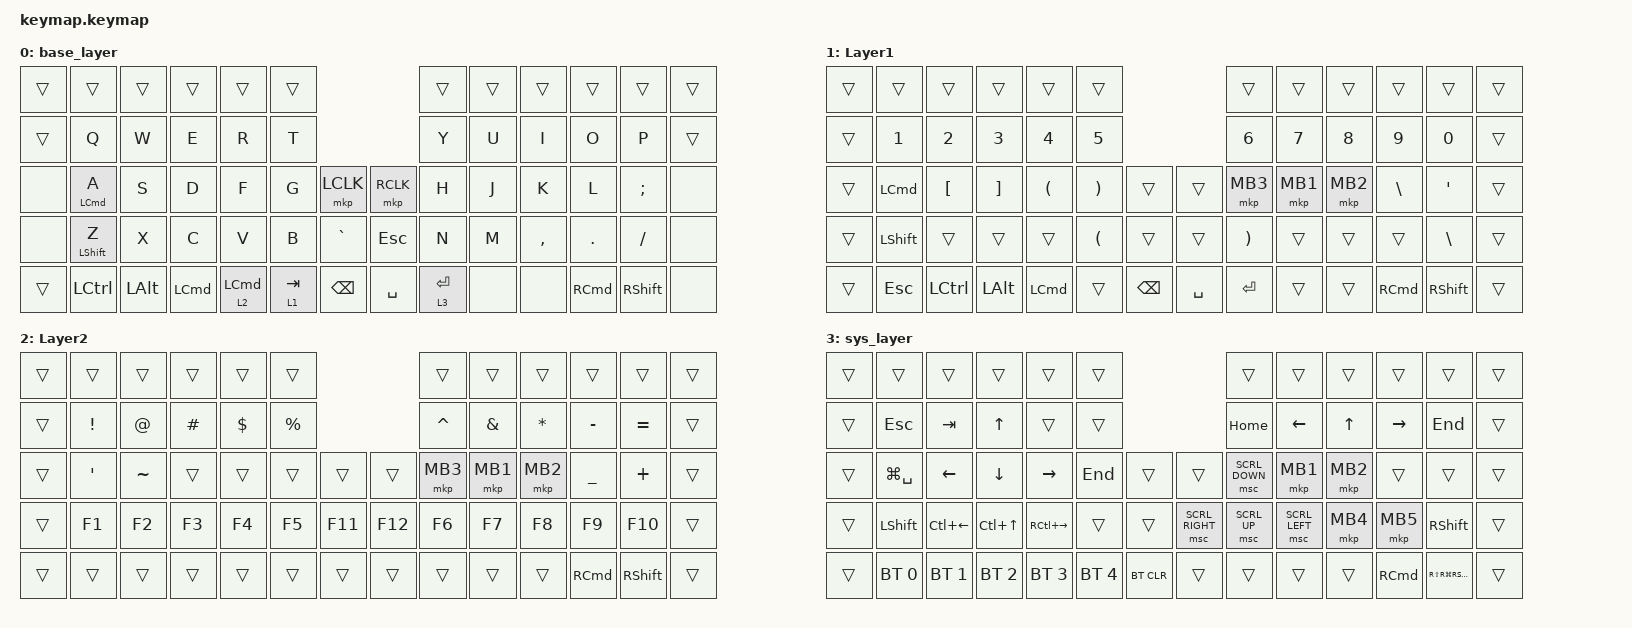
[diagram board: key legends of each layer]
#include <behaviors.dtsi>
#include <dt-bindings/zmk/bt.h>
#include <dt-bindings/zmk/keys.h>
#include <dt-bindings/zmk/pointing.h>

/ {
    behaviors {
        hmt: home_mod_tap {
            compatible = "zmk,behavior-hold-tap";
            #binding-cells = <2>;
            flavor = "balanced";
            tapping-term-ms = <280>;
            quick-tap-ms = <175>;
            require-prior-idle-ms = <150>;
            bindings = <&kp>, <&kp>;
        };
    };

    combos {
        compatible = "zmk,combos";

        changeLang {
            bindings = <&kp GLOBE>;
            key-positions = <24 60>;
        };

        quote {
            bindings = <&kp SQT>;
            key-positions = <36 37>;
            layers = <0>;
        };

        backSlash {
            bindings = <&kp BACKSLASH>;
            key-positions = <23 22>;
            layers = <0>;
        };
    };

    keymap {
        compatible = "zmk,keymap";

        base_layer {
            bindings = <
&trans  &trans               &trans        &trans            &trans              &trans                            &trans     &trans  &trans     &trans             &trans           &trans
&trans  &kp Q                &kp W         &kp E             &kp R               &kp T                             &kp Y      &kp U   &kp I      &kp O              &kp P            &trans
&none   &hmt LEFT_COMMAND A  &kp S         &kp D             &kp F               &kp G      &mkp LCLK  &mkp RCLK   &kp H      &kp J   &kp K      &kp L              &kp SEMI         &none
&none   &hmt LEFT_SHIFT Z    &kp X         &kp C             &kp V               &kp B      &kp GRAVE  &kp ESCAPE  &kp N      &kp M   &kp COMMA  &kp DOT            &kp FSLH         &none
&trans  &kp LCTRL            &kp LEFT_ALT  &kp LEFT_COMMAND  &lt 2 LEFT_COMMAND  &lt 1 TAB  &kp BSPC   &kp SPACE   &lt 3 RET  &none   &none      &kp RIGHT_COMMAND  &kp RIGHT_SHIFT  &none
            >;
        };

        Layer1 {
            bindings = <
&trans  &trans            &trans            &trans             &trans                &trans                                           &trans                 &trans    &trans    &trans             &trans           &trans
&trans  &kp N1            &kp N2            &kp N3             &kp N4                &kp N5                                           &kp N6                 &kp N7    &kp N8    &kp N9             &kp N0           &trans
&trans  &kp LEFT_COMMAND  &kp LEFT_BRACKET  &kp RIGHT_BRACKET  &kp LEFT_PARENTHESIS  &kp RIGHT_PARENTHESIS  &trans         &trans     &mkp MB3               &mkp MB1  &mkp MB2  &kp BACKSLASH      &kp SQT          &trans
&trans  &kp LEFT_SHIFT    &trans            &trans             &trans                &kp LEFT_PARENTHESIS   &trans         &trans     &kp RIGHT_PARENTHESIS  &trans    &trans    &trans             &kp BACKSLASH    &trans
&trans  &kp ESCAPE        &kp LCTRL         &kp LEFT_ALT       &kp LEFT_COMMAND      &trans                 &kp BACKSPACE  &kp SPACE  &kp ENTER              &trans    &trans    &kp RIGHT_COMMAND  &kp RIGHT_SHIFT  &trans
            >;
        };

        Layer2 {
            bindings = <
&trans  &trans           &trans       &trans    &trans      &trans                         &trans     &trans         &trans        &trans             &trans           &trans
&trans  &kp EXCLAMATION  &kp AT_SIGN  &kp HASH  &kp DOLLAR  &kp PERCENT                    &kp CARET  &kp AMPERSAND  &kp ASTERISK  &kp MINUS          &kp EQUAL        &trans
&trans  &kp SQT          &kp TILDE    &trans    &trans      &trans       &trans   &trans   &mkp MB3   &mkp MB1       &mkp MB2      &kp UNDERSCORE     &kp PLUS         &trans
&trans  &kp F1           &kp F2       &kp F3    &kp F4      &kp F5       &kp F11  &kp F12  &kp F6     &kp F7         &kp F8        &kp F9             &kp F10          &trans
&trans  &trans           &trans       &trans    &trans      &trans       &trans   &trans   &trans     &trans         &trans        &kp RIGHT_COMMAND  &kp RIGHT_SHIFT  &trans
            >;
        };

        sys_layer {
            bindings = <
&trans  &trans          &trans              &trans            &trans               &trans                                     &trans          &trans          &trans        &trans             &trans                   &trans
&trans  &kp ESCAPE      &kp TAB             &kp UP_ARROW      &trans               &trans                                     &kp HOME        &kp LEFT_ARROW  &kp UP_ARROW  &kp RIGHT_ARROW    &kp END                  &trans
&trans  &kp LG(SPACE)   &kp LEFT_ARROW      &kp DOWN_ARROW    &kp RIGHT_ARROW      &kp END       &trans      &trans           &msc SCRL_DOWN  &mkp MB1        &mkp MB2      &trans             &trans                   &trans
&trans  &kp LEFT_SHIFT  &kp LC(LEFT_ARROW)  &kp LC(UP_ARROW)  &kp RC(RIGHT_ARROW)  &trans        &trans      &msc SCRL_RIGHT  &msc SCRL_UP    &msc SCRL_LEFT  &mkp MB4      &mkp MB5           &kp RIGHT_SHIFT          &trans
&trans  &bt BT_SEL 0    &bt BT_SEL 1        &bt BT_SEL 2      &bt BT_SEL 3         &bt BT_SEL 4  &bt BT_CLR  &trans           &trans          &trans          &trans        &kp RIGHT_COMMAND  &kp RS(RG(RIGHT_SHIFT))  &trans
            >;
        };
    };
};
